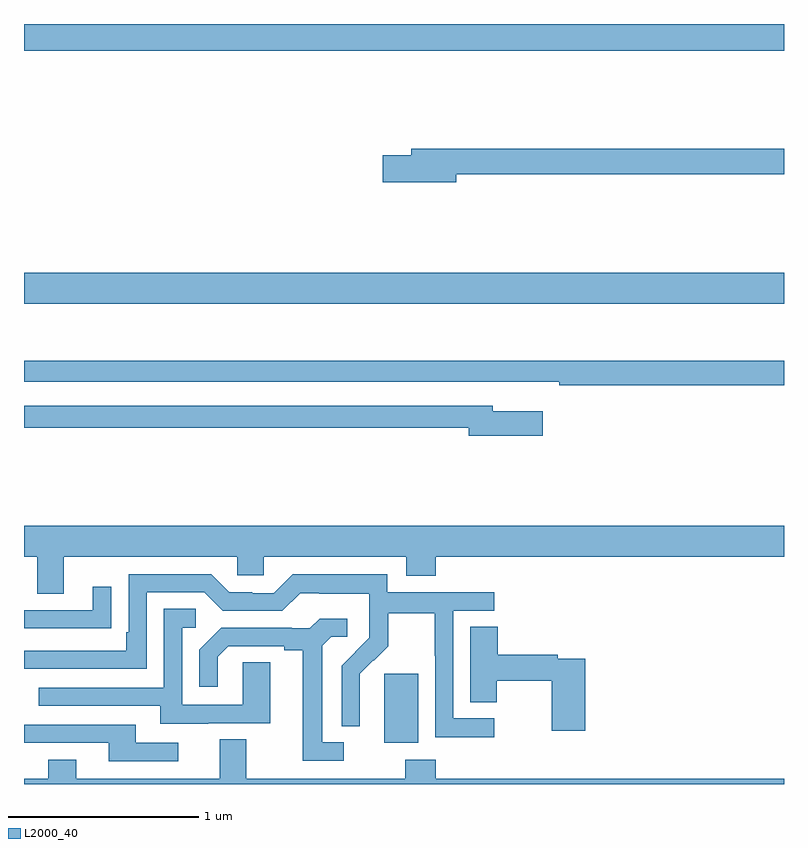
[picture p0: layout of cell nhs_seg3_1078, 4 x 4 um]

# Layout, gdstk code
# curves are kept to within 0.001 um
import gdstk
lib = gdstk.Library(unit=1e-6, precision=1e-09)
def R(c, l, rs):  # rectangles x0, y0, x1, y1
    for r in rs: c.add(gdstk.rectangle(r[:2], r[2:], *l))
def P(c, l, *ps):  # polygons
    for p in ps: c.add(gdstk.Polygon(p, *l))
L2000_40 = (2000, 40)

nhs_seg3_1078 = lib.new_cell('nhs_seg3_1078')
R(nhs_seg3_1078, L2000_40, [(168.896,686.618,169.075,686.979), (167,688.928,171,689.092), (167,690.26,171,690.4)])
P(nhs_seg3_1078, L2000_40, [(169.276,689.608),(171,689.608),(171,689.744),(169.037,689.744),(169.037,689.708),(168.888,689.708),(168.888,689.566),(169.276,689.566)],
  [(171,688.627),(167,688.627),(167,688.518),(169.564,688.518),(169.564,688.517),(169.816,688.517),(169.816,688.498),(171,688.498)],
  [(169.729,688.363),(169.468,688.363),(169.468,688.392),(167,688.392),(167,688.276),(169.34,688.276),(169.34,688.234),(169.729,688.234)],
  [(167.209,687.596),(168.123,687.596),(168.123,687.498),(168.261,687.498),(168.261,687.596),(169.013,687.596),(169.013,687.497),(169.166,687.497),(169.166,687.596),(171,687.596),(171,687.76),(167,687.76),(167,687.596),(167.069,687.596),(167.069,687.402),(167.209,687.402)],
  [(169.474,686.745),(169.26,686.745),(169.26,687.312),(169.474,687.312),(169.474,687.408),(168.912,687.408),(168.912,687.505),(168.415,687.505),(168.315,687.405),(168.2,687.405),(168.2,687.408),(168.081,687.408),(167.985,687.504),(167.55,687.504),(167.55,687.199),(167.537,687.199),(167.537,687.102),(167,687.102),(167,687.006),(167.646,687.006),(167.646,687.408),(167.949,687.408),(168.045,687.312),(168.36,687.312),(168.453,687.405),(168.553,687.405),(168.553,687.401),(168.816,687.401),(168.816,687.267),(168.818,687.267),(168.818,687.17),(168.672,687.022),(168.672,686.704),(168.768,686.704),(168.767,686.981),(168.837,687.051),(168.84,687.048),(168.917,687.125),(168.917,687.3),(169.162,687.3),(169.162,687.076),(169.164,687.076),(169.164,686.647),(169.474,686.647)],
  [(167.357,687.22),(167.459,687.22),(167.459,687.439),(167.363,687.439),(167.363,687.315),(167,687.315),(167,687.219),(167.357,687.219)],
  [(167.971,686.721),(168.295,686.721),(168.295,687.041),(168.15,687.041),(168.15,686.817),(167.832,686.817),(167.832,687.222),(167.905,687.222),(167.905,687.323),(167.736,687.323),(167.736,686.907),(167.077,686.907),(167.077,686.811),(167.717,686.811),(167.717,686.717),(167.971,686.717)],
  [(168.682,686.619),(168.571,686.619),(168.571,687.127),(168.618,687.174),(168.7,687.174),(168.7,687.271),(168.556,687.271),(168.504,687.219),(168.41,687.219),(168.41,687.222),(168.038,687.222),(167.922,687.106),(167.922,686.913),(168.019,686.913),(168.019,687.069),(168.076,687.126),(168.371,687.126),(168.371,687.104),(168.467,687.104),(168.467,686.523),(168.682,686.523)],
  [(169.955,687.06),(169.808,687.06),(169.808,687.08),(169.493,687.08),(169.493,687.227),(169.349,687.227),(169.349,686.83),(169.488,686.83),(169.488,686.944),(169.777,686.944),(169.777,686.679),(169.955,686.679)],
  [(167.812,686.616),(167.587,686.616),(167.587,686.712),(167,686.712),(167,686.616),(167.447,686.616),(167.447,686.52),(167.812,686.52)],
  [(171,686.428),(169.166,686.428),(169.166,686.527),(169.006,686.527),(169.006,686.428),(168.169,686.428),(168.169,686.636),(168.029,686.636),(168.029,686.428),(167.275,686.428),(167.275,686.527),(167.128,686.527),(167.128,686.428),(167,686.428),(167,686.4),(171,686.4)])

lib.write_gds('nhs_seg3_1078.gds')
